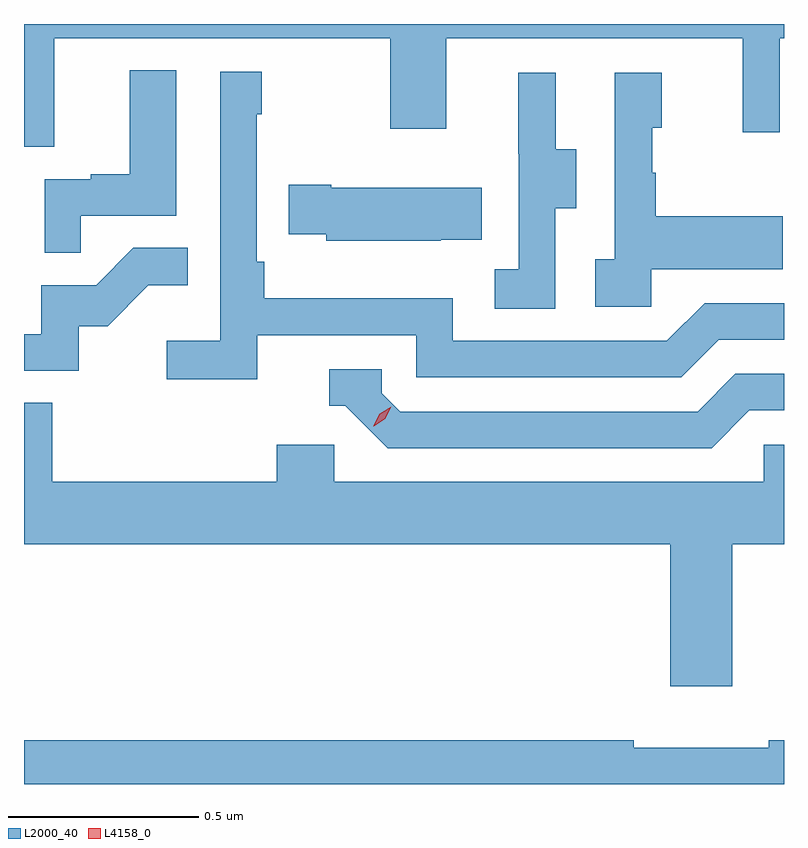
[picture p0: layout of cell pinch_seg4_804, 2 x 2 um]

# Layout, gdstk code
import gdstk
lib = gdstk.Library(unit=1e-6, precision=1e-09)
def P(c, l, *ps):  # polygons
    for p in ps: c.add(gdstk.Polygon(p, *l))
L2000_40 = (2000, 40)
L4158_0 = (4158, 0)

pinch_seg4_804 = lib.new_cell('pinch_seg4_804')
P(pinch_seg4_804, L2000_40, [(822.727,827.456),(823.612,827.456),(823.612,827.217),(823.759,827.217),(823.759,827.456),(824.54,827.456),(824.54,827.208),(824.637,827.208),(824.637,827.456),(824.648,827.456),(824.648,827.493),(822.648,827.493),(822.648,827.17),(822.727,827.17)],
  [(822.797,826.989),(823.048,826.989),(823.048,827.371),(822.926,827.371),(822.926,827.098),(822.823,827.098),(822.823,827.085),(822.702,827.085),(822.702,826.891),(822.797,826.891)],
  [(823.262,826.674),(823.68,826.674),(823.68,826.563),(824.377,826.563),(824.476,826.662),(824.648,826.662),(824.648,826.758),(824.439,826.758),(824.34,826.659),(823.776,826.659),(823.776,826.771),(823.28,826.771),(823.28,826.867),(823.26,826.867),(823.26,827.255),(823.273,827.255),(823.273,827.368),(823.164,827.368),(823.164,826.66),(823.023,826.66),(823.023,826.558),(823.262,826.558)],
  [(824.046,827.008),(824.101,827.008),(824.101,827.163),(824.047,827.163),(824.047,827.365),(823.949,827.365),(823.949,827.151),(823.95,827.151),(823.95,826.847),(823.887,826.847),(823.887,826.744),(824.046,826.744)],
  [(824.298,826.847),(824.645,826.847),(824.645,826.987),(824.311,826.987),(824.311,827.102),(824.301,827.102),(824.301,827.22),(824.326,827.22),(824.326,827.365),(824.202,827.365),(824.202,826.874),(824.151,826.874),(824.151,826.749),(824.298,826.749)],
  [(823.745,826.925),(823.853,826.925),(823.853,827.062),(823.456,827.062),(823.456,827.07),(823.345,827.07),(823.345,826.94),(823.443,826.94),(823.443,826.922),(823.745,826.922)],
  [(822.792,826.698),(822.868,826.698),(822.975,826.805),(823.079,826.805),(823.079,826.904),(822.936,826.904),(822.838,826.806),(822.693,826.806),(822.693,826.677),(822.648,826.677),(822.648,826.581),(822.792,826.581)],
  [(824.557,826.476),(824.648,826.476),(824.648,826.572),(824.52,826.572),(824.421,826.473),(823.638,826.473),(823.59,826.521),(823.59,826.584),(823.451,826.584),(823.451,826.488),(823.494,826.488),(823.605,826.377),(824.458,826.377)],
  [(824.512,826.124),(824.648,826.124),(824.648,826.386),(824.595,826.386),(824.595,826.288),(823.464,826.288),(823.464,826.386),(823.313,826.386),(823.313,826.288),(822.722,826.288),(822.722,826.496),(822.648,826.496),(822.648,826.124),(824.348,826.124),(824.348,825.75),(824.512,825.75)],
  [(824.648,825.608),(824.608,825.608),(824.608,825.589),(824.252,825.589),(824.252,825.608),(822.648,825.608),(822.648,825.493),(824.648,825.493)])
P(pinch_seg4_804, L4158_0, [(823.567,826.434),(823.567,826.435),(823.584,826.467),(823.614,826.486),(823.615,826.486),(823.615,826.486),(823.598,826.454),(823.568,826.434)])

lib.write_gds('pinch_seg4_804.gds')
